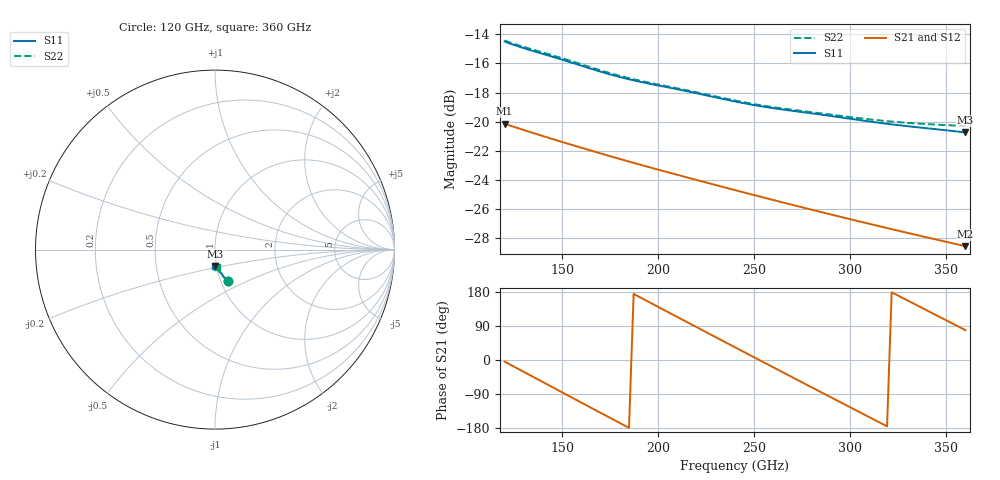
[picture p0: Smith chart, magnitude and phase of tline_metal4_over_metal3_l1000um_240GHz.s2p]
#  GHZ S DB R 50
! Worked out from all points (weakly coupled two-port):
!   101 points, 120 GHz to 360 GHz, reference 50 ohm
!   highest |S21| = -20.14 dB at 120 GHz (marker M1); lowest = -28.6 dB at 360 GHz (marker M2)
!   lowest |S11| = -20.7 dB at 360 GHz (marker M3), VSWR 1.20, Z = 49.4 - j9.14 ohm
!   |S11| at or under -10 dB: start of sweep to end of sweep
!   |S22| runs from -20.3 to -14.4 dB; largest |S21 - S12| = 7.9e-14
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120  -14.49 -67.6  -20.14 -4.3  -20.14 -4.3  -14.42 -68.2
132  -15.03 -68.8  -20.66 -36.8  -20.66 -36.8  -14.94 -69.5
141.6  -15.41 -70.0  -21.06 -62.8  -21.06 -62.8  -15.31 -70.8
151.2  -15.79 -71.4  -21.44 -88.7  -21.44 -88.7  -15.69 -72.2
160.8  -16.19 -72.6  -21.82 -114.6  -21.82 -114.6  -16.09 -73.6
170.4  -16.58 -73.6  -22.20 -140.5  -22.20 -140.5  -16.49 -74.6
180  -16.93 -74.3  -22.56 -166.3  -22.56 -166.3  -16.85 -75.3
189.6  -17.23 -75.0  -22.92 168.0  -22.92 168.0  -17.16 -76.0
201.6  -17.55 -76.0  -23.35 135.9  -23.35 135.9  -17.49 -76.9
211.2  -17.81 -77.0  -23.70 110.2  -23.70 110.2  -17.74 -77.8
220.8  -18.07 -78.1  -24.03 84.6  -24.03 84.6  -18.01 -78.7
230.4  -18.34 -79.0  -24.37 59.0  -24.37 59.0  -18.28 -79.5
240  -18.61 -79.8  -24.70 33.5  -24.70 33.5  -18.55 -80.1
249.6  -18.85 -80.3  -25.03 8.1  -25.03 8.1  -18.79 -80.5
259.2  -19.06 -80.9  -25.36 -17.4  -25.36 -17.4  -18.99 -80.8
271.2  -19.28 -81.7  -25.76 -49.0  -25.76 -49.0  -19.20 -81.3
280.8  -19.44 -82.5  -26.08 -74.3  -26.08 -74.3  -19.36 -81.8
292.8  -19.66 -83.6  -26.47 -105.9  -26.47 -105.9  -19.56 -82.4
304.8  -19.89 -84.6  -26.86 -137.4  -26.86 -137.4  -19.76 -82.9
321.6  -20.18 -85.8  -27.39 178.7  -27.39 178.7  -19.99 -83.3
343.2  -20.50 -87.4  -28.05 122.4  -28.05 122.4  -20.19 -83.8
360  -20.74 -88.8  -28.55 78.8  -28.55 78.8  -20.30 -84.3
